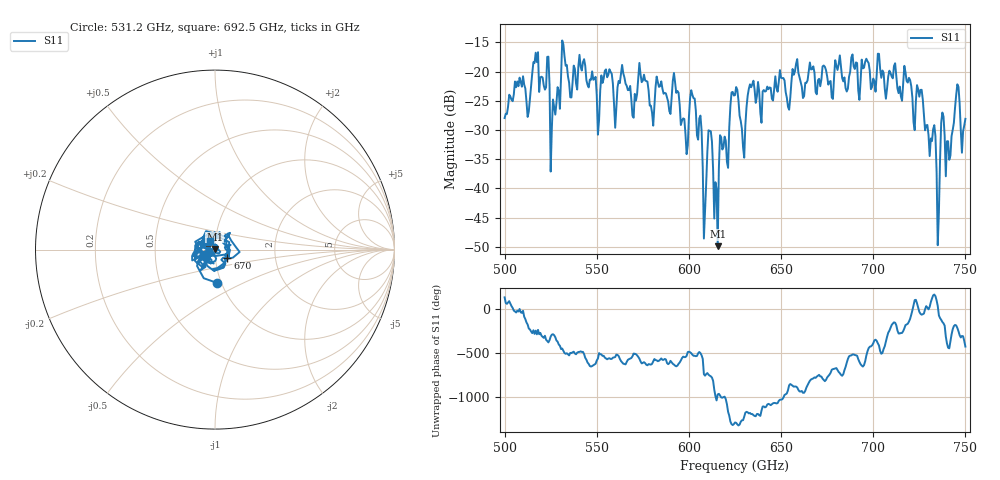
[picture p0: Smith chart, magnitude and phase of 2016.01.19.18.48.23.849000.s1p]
!Created with skrf (http://scikit-rf.org).
# GHz S RI R 50.0
!freq ReS11 ImS11
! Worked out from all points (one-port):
!   401 points, 500 GHz to 750 GHz, reference 50 ohm
!   lowest |S11| = -49.9 dB at 615.6 GHz (marker M1), VSWR 1.01, Z = 49.9 + j0.29 ohm
!   |S11| at or under -10 dB: start of sweep to end of sweep
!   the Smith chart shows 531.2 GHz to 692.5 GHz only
!   S11 on the Smith chart (normalised r, x): 531.2 GHz: 0.95, -0.36; 670 GHz: 1.14, -0.11; 692.5 GHz: 0.94, +0.09
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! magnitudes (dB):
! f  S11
! 500 GHz  -28.0
! 513.1 GHz  -26.8
! 516.9 GHz  -16.8
! 526.2 GHz  -24.8
! 531.2 GHz  -14.7
! 550.6 GHz  -30.8
! 562.5 GHz  -22.0
! 593.8 GHz  -23.3
! 598.1 GHz  -30.7
! 602.5 GHz  -24.5
! 608.8 GHz  -44.0
! 611.2 GHz  -30.1
! 614.4 GHz  -38.9
! 615.6 GHz  -49.9
! 625 GHz  -24.0
! 629.4 GHz  -33.0
! 633.8 GHz  -22.7
! 656.2 GHz  -19.5
! 670 GHz  -21.5
! 687.5 GHz  -20.0
! 692.5 GHz  -24.8
! 718.8 GHz  -21.9
! 732.5 GHz  -29.9
! 735 GHz  -49.7
! 737.5 GHz  -27.0
! 740.6 GHz  -31.9
! 745.6 GHz  -22.2
! 750 GHz  -28.1
